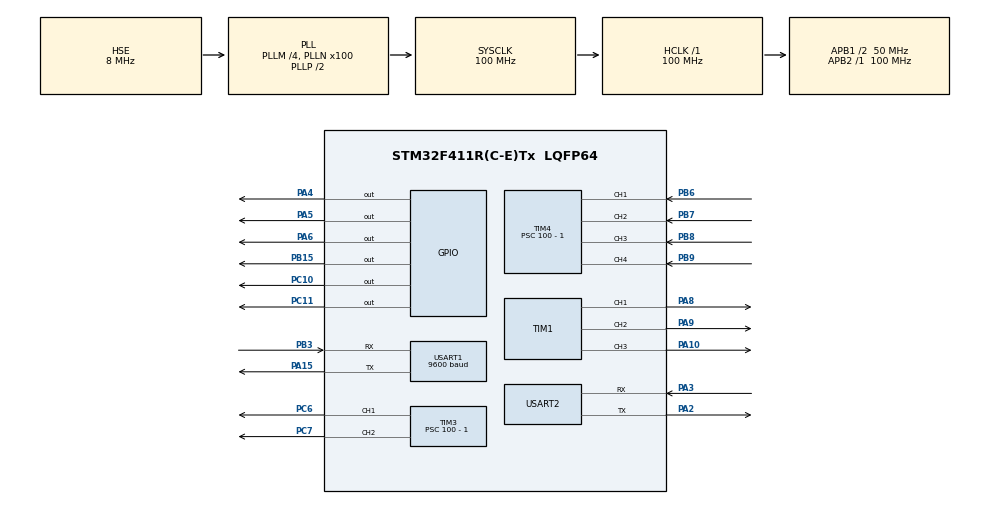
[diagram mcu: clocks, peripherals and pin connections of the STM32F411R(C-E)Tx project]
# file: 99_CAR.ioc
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FREERTOS.Tasks01=Motor_Task1,24,128,Motor_Task01,Default,NULL,Dynamic,NULL,NULL;ultrasonic_Task,8,128,Ultrasonic_Task,Default,NULL,Dynamic,NULL,NULL;BUZZER_Task1,8,128,Buzzer_Task01,Default,NULL,Dynamic,NULL,NULL;Signal_Task01,8,128,signal_task01,Default,NULL,Dynamic,NULL,NULL
FREERTOS.configUSE_NEWLIB_REENTRANT=1
Mcu.Family=STM32F4
Mcu.Name=STM32F411R(C-E)Tx
Mcu.Package=LQFP64
NVIC.PriorityGroup=NVIC_PRIORITYGROUP_4
NVIC.TIM1_UP_TIM10_IRQn=true\:5\:0\:false\:false\:true\:true\:false\:true\:true
NVIC.TIM4_IRQn=true\:5\:0\:false\:false\:true\:true\:true\:true\:true
NVIC.TimeBase=TIM1_UP_TIM10_IRQn
NVIC.TimeBaseIP=TIM10
NVIC.USART1_IRQn=true\:5\:0\:false\:false\:true\:true\:true\:true\:true
NVIC.USART2_IRQn=true\:5\:0\:false\:false\:true\:true\:true\:true\:true
PA10.Signal=S_TIM1_CH3
PA13.Mode=Serial_Wire
PA13.Signal=SYS_JTMS-SWDIO
PA14.Mode=Serial_Wire
PA14.Signal=SYS_JTCK-SWCLK
PA15.Mode=Asynchronous
PA15.Signal=USART1_TX
PA2.Mode=Asynchronous
PA2.Signal=USART2_TX
PA3.Mode=Asynchronous
PA3.Signal=USART2_RX
PA4.Signal=GPIO_Output
PA5.Signal=GPIO_Output
PA6.Signal=GPIO_Output
PA8.Signal=S_TIM1_CH1
PA9.Signal=S_TIM1_CH2
PB15.Signal=GPIO_Output
PB3.Mode=Asynchronous
PB3.Signal=USART1_RX
PB6.Signal=S_TIM4_CH1
PB7.Signal=S_TIM4_CH2
PB8.Signal=S_TIM4_CH3
PB9.Signal=S_TIM4_CH4
PC10.Signal=GPIO_Output
PC11.Signal=GPIO_Output
PC6.Signal=S_TIM3_CH1
PC7.Signal=S_TIM3_CH2
PH0\ -\ OSC_IN.Mode=HSE-External-Oscillator
PH0\ -\ OSC_IN.Signal=RCC_OSC_IN
PH1\ -\ OSC_OUT.Mode=HSE-External-Oscillator
PH1\ -\ OSC_OUT.Signal=RCC_OSC_OUT
ProjectManager.HeapSize=0x200
ProjectManager.StackSize=0x400
ProjectManager.TargetToolchain=STM32CubeIDE
RCC.48MHZClocksFreq_Value=50000000
RCC.AHBFreq_Value=100000000
RCC.APB1CLKDivider=RCC_HCLK_DIV2
RCC.APB1Freq_Value=50000000
RCC.APB1TimFreq_Value=100000000
RCC.APB2Freq_Value=100000000
RCC.APB2TimFreq_Value=100000000
RCC.CortexFreq_Value=100000000
RCC.HCLKFreq_Value=100000000
RCC.HSE_VALUE=8000000
RCC.HSI_VALUE=16000000
RCC.LSE_VALUE=32768
RCC.PLLM=4
RCC.PLLN=100
RCC.PLLSourceVirtual=RCC_PLLSOURCE_HSE
RCC.SYSCLKFreq_VALUE=100000000
RCC.SYSCLKSource=RCC_SYSCLKSOURCE_PLLCLK
RCC.VCOOutputFreq_Value=200000000
SH.S_TIM1_CH1.0=TIM1_CH1,PWM Generation1 CH1
SH.S_TIM1_CH2.0=TIM1_CH2,PWM Generation2 CH2
SH.S_TIM1_CH3.0=TIM1_CH3,PWM Generation3 CH3
SH.S_TIM3_CH1.0=TIM3_CH1,PWM Generation1 CH1
SH.S_TIM3_CH2.0=TIM3_CH2,PWM Generation2 CH2
SH.S_TIM4_CH1.0=TIM4_CH1,Input_Capture1_from_TI1
SH.S_TIM4_CH2.0=TIM4_CH2,Input_Capture2_from_TI2
SH.S_TIM4_CH3.0=TIM4_CH3,Input_Capture3_from_TI3
SH.S_TIM4_CH4.0=TIM4_CH4,Input_Capture4_from_TI4
TIM1.Channel-PWM\ Generation1\ CH1=TIM_CHANNEL_1
TIM1.Channel-PWM\ Generation2\ CH2=TIM_CHANNEL_2
TIM1.Channel-PWM\ Generation3\ CH3=TIM_CHANNEL_3
TIM11.Prescaler=100 - 1
TIM3.Channel-PWM\ Generation1\ CH1=TIM_CHANNEL_1
TIM3.Channel-PWM\ Generation2\ CH2=TIM_CHANNEL_2
TIM3.Period=1000 - 1
TIM3.Prescaler=100 - 1 
TIM3.Pulse-PWM\ Generation1\ CH1=500
TIM3.Pulse-PWM\ Generation2\ CH2=500
TIM4.Channel-Input_Capture1_from_TI1=TIM_CHANNEL_1
TIM4.Channel-Input_Capture2_from_TI2=TIM_CHANNEL_2
TIM4.Channel-Input_Capture3_from_TI3=TIM_CHANNEL_3
TIM4.Channel-Input_Capture4_from_TI4=TIM_CHANNEL_4
TIM4.ICPolarity_CH1=TIM_INPUTCHANNELPOLARITY_BOTHEDGE
TIM4.ICPolarity_CH2=TIM_INPUTCHANNELPOLARITY_BOTHEDGE
TIM4.ICPolarity_CH3=TIM_INPUTCHANNELPOLARITY_BOTHEDGE
TIM4.Prescaler=100 - 1
USART1.BaudRate=9600
USART1.VirtualMode=VM_ASYNC
USART2.VirtualMode=VM_ASYNC
VP_FREERTOS_VS_CMSIS_V2.Mode=CMSIS_V2
VP_SYS_VS_tim10.Mode=TIM10
VP_TIM11_VS_ClockSourceINT.Mode=Enable_Timer
board=custom

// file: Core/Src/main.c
/* USER CODE BEGIN Header */
/**
  ******************************************************************************
  * @file           : main.c
  * @brief          : Main program body
  ******************************************************************************
  * @attention
  *
  * Copyright (c) 2025 STMicroelectronics.
  * All rights reserved.
  *
  * This software is licensed under terms that can be found in the LICENSE file
  * in the root directory of this software component.
  * If no LICENSE file comes with this software, it is provided AS-IS.
  *
  ******************************************************************************
  */
/* USER CODE END Header */
#include "main.h"
#include "cmsis_os.h"
#include "tim.h"
#include "usart.h"
#include "gpio.h"

/* USER CODE BEGIN Includes */

#include "stdio.h"
#include "motor.h"
#include "Ultrasonic.h"
#include "led.h"
#include "button.h"
#include "delay_us.h"

/* USER CODE END Includes */

/* USER CODE BEGIN PV */

//uint8_t rxData;
uint8_t txData;
uint8_t rxBt;

/* USER CODE END PV */

void SystemClock_Config(void);
void MX_FREERTOS_Init(void);
/* USER CODE BEGIN PFP */

//void HAL_UART_RxCpltCallback(UART_HandleTypeDef *huart)
//{
//  if(huart->Instance == USART2)
//  {
//    uint16_t speed = GetSpeed();
//
//    switch(rxData)
//    {
//      case 'w' :
//      case 'W' :
//        Forward();
//        break;
//
//      case 's' :
//      case 'S' :
//        Backward();
//        break;
//
//      case 'a' :
//      case 'A' :
//        Left();
//        break;
//
//      case 'd' :
//      case 'D' :
//        Right();
//        break;
//
//      case 'z' :
//      case 'Z' :
//        speed += 100;
//        SetSpeed(speed);
//        break;
//
//      case 'x' :
//      case 'X' :
//        if(speed >= 100) speed -= 100;
//        else speed = 0;
//        SetSpeed(speed);
//        break;
//
//      case 'e' :
//      case 'E' :
//        Stop();
//        break;
//
//      default :
//        break;  // 그 외의 문자는 무시
//    }
//    // 다음 문자 수신 대기
//    HAL_UART_Receive_IT(&huart2, &rxData, sizeof(rxData));
//  }
//
//  if(huart->Instance == USART1)
//    {
//      uint16_t speed = GetSpeed();
//
//      switch(txData)
//      {
//        case 'w' : Forward(); break;
//        case 's' : Backward(); break;
//        case 'a' : Left(); break;
//        case 'd' : Right() ; break;
//        case 't' : speed += 100; SetSpeed(speed); break;
//        case 'x' : speed = (speed >= 100) ? speed - 100 : 0; SetSpeed(speed); break;
//        case 'q' : Stop(); break;
//        default: break;
//      }
//      // 다음 문자 수신 대기
//      HAL_UART_Receive_IT(&huart1, &txData, sizeof(txData));
//    }
//}

/* USER CODE END PFP */

/* USER CODE BEGIN 0 */

//GPIO_TypeDef *gGPIOB;

/* USER CODE END 0 */

int main(void)
{

  /* MCU Configuration--------------------------------------------------------*/

  /* Reset of all peripherals, Initializes the Flash interface and the Systick. */
  HAL_Init();

  /* Configure the system clock */
  SystemClock_Config();

  /* Initialize all configured peripherals */
  MX_GPIO_Init();
  MX_TIM3_Init();
  MX_USART2_UART_Init();
  MX_USART1_UART_Init();
  MX_TIM4_Init();
  MX_TIM11_Init();
  MX_TIM1_Init();
  /* USER CODE BEGIN 2 */

  MotorInit();
  //Ultrasonic_Init();
  Buzzer_Init();

  // PWM Start
  HAL_TIM_PWM_Start(&htim3, TIM_CHANNEL_1); // ENA (PB4)
  HAL_TIM_PWM_Start(&htim3, TIM_CHANNEL_2); // ENB (PB5)

  HAL_TIM_PWM_Start(&htim2, TIM_CHANNEL_1);
  HAL_TIM_Base_Start(&htim2); // 부저용 타이머

  // UART Interrupt
//  HAL_UART_Receive_IT(&huart2, &rxData, sizeof(rxData));
//  HAL_UART_Receive_IT(&huart1, &txData, sizeof(txData));
  HAL_UART_Receive_IT(&huart1, &rxBt, sizeof(rxBt));

  HAL_TIM_Base_Start(&htim11);    // us timer
  HAL_TIM_IC_Start_IT(&htim4, TIM_CHANNEL_1);   // for 전방 ultrasonic timer
  HAL_TIM_IC_Start_IT(&htim4, TIM_CHANNEL_2);   // for 전방 ultrasonic timer
  HAL_TIM_IC_Start_IT(&htim4, TIM_CHANNEL_3);   // for 전방 ultrasonic timer
  HAL_TIM_IC_Start_IT(&htim4, TIM_CHANNEL_4);	// for 후방 ultrasonic timer

  /* USER CODE END 2 */

  /* Init scheduler */
  osKernelInitialize();  /* Call init function for freertos objects (in cmsis_os2.c) */
  MX_FREERTOS_Init();

  /* Start scheduler */
  osKernelStart();

  /* We should never get here as control is now taken by the scheduler */

  /* Infinite loop */
  while (1)
  {

  }
}

void SystemClock_Config(void)
{
  RCC_OscInitTypeDef RCC_OscInitStruct = {0};
  RCC_ClkInitTypeDef RCC_ClkInitStruct = {0};

  /** Configure the main internal regulator output voltage
  */
  __HAL_RCC_PWR_CLK_ENABLE();
  __HAL_PWR_VOLTAGESCALING_CONFIG(PWR_REGULATOR_VOLTAGE_SCALE1);

  /** Initializes the RCC Oscillators according to the specified parameters
  * in the RCC_OscInitTypeDef structure.
  */
  RCC_OscInitStruct.OscillatorType = RCC_OSCILLATORTYPE_HSE;
  RCC_OscInitStruct.HSEState = RCC_HSE_ON;
  RCC_OscInitStruct.PLL.PLLState = RCC_PLL_ON;
  RCC_OscInitStruct.PLL.PLLSource = RCC_PLLSOURCE_HSE;
  RCC_OscInitStruct.PLL.PLLM = 4;
  RCC_OscInitStruct.PLL.PLLN = 100;
  RCC_OscInitStruct.PLL.PLLP = RCC_PLLP_DIV2;
  RCC_OscInitStruct.PLL.PLLQ = 4;
  if (HAL_RCC_OscConfig(&RCC_OscInitStruct) != HAL_OK)
  {
    Error_Handler();
  }

  /** Initializes the CPU, AHB and APB buses clocks
  */
  RCC_ClkInitStruct.ClockType = RCC_CLOCKTYPE_HCLK|RCC_CLOCKTYPE_SYSCLK
                              |RCC_CLOCKTYPE_PCLK1|RCC_CLOCKTYPE_PCLK2;
  RCC_ClkInitStruct.SYSCLKSource = RCC_SYSCLKSOURCE_PLLCLK;
  RCC_ClkInitStruct.AHBCLKDivider = RCC_SYSCLK_DIV1;
  RCC_ClkInitStruct.APB1CLKDivider = RCC_HCLK_DIV2;
  RCC_ClkInitStruct.APB2CLKDivider = RCC_HCLK_DIV1;

  if (HAL_RCC_ClockConfig(&RCC_ClkInitStruct, FLASH_LATENCY_3) != HAL_OK)
  {
    Error_Handler();
  }
}

void HAL_TIM_PeriodElapsedCallback(TIM_HandleTypeDef *htim)
{
  if (htim->Instance == TIM10)
  {
    HAL_IncTick();
  }
}

void Error_Handler(void)
{
  __disable_irq();
  while (1)
  {
  }
}

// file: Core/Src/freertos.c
/* USER CODE BEGIN Header */
/**
  ******************************************************************************
  * File Name          : freertos.c
  * Description        : Code for freertos applications
  ******************************************************************************
  * @attention
  *
  * Copyright (c) 2025 STMicroelectronics.
  * All rights reserved.
  *
  * This software is licensed under terms that can be found in the LICENSE file
  * in the root directory of this software component.
  * If no LICENSE file comes with this software, it is provided AS-IS.
  *
  ******************************************************************************
  */
/* USER CODE END Header */

#include "FreeRTOS.h"
#include "task.h"
#include "main.h"
#include "cmsis_os.h"

/* USER CODE BEGIN Includes */

#include "motor.h"
#include "Ultrasonic.h"
#include "buzzer.h"
#include "led.h"
#include "button.h"
#include "usart.h"
#include "delay_us.h"

/* USER CODE END Includes */

/* USER CODE BEGIN PD */

//extern uint8_t txData;
//uint8_t mode = 10;
//// 모터변수
//static uint16_t speed = 500;
//
//// ultrasonic
//uint16_t IC_Value1 = 0;
//uint16_t IC_Value2 = 0;
//uint16_t echoTime1 = 0;
//uint8_t captureFlag1 = 0;
//uint8_t distance1 = 0;
//
//uint16_t IC_Value3 = 0;
//uint16_t IC_Value4 = 0;
//uint16_t echoTime2 = 0;
//uint8_t captureFlag2 = 0;
//uint8_t distance2 = 0;
//
//uint16_t IC_Value5 = 0;
//uint16_t IC_Value6 = 0;
//uint16_t echoTime3 = 0;
//uint8_t captureFlag3 = 0;
//uint8_t distance3 = 0;

// Buzzer
uint32_t buzzer_beep_time = 0;
uint8_t buzzer_state = 0; // 0: off, 1: on
uint8_t current_beep_interval = 0;
uint8_t current_beep_frequency = 0;

// LED
uint8_t led1_State = 0;
uint8_t led2_State = 0;
uint8_t led1_Blink = 0;
uint8_t led2_Blink = 0;

extern uint8_t rxData;
extern uint8_t rxBt;
uint8_t rxType;
uint8_t rxFlag;
uint8_t autoFlag = 1;

DriveState currentState = STOP;
TurnState turn = None;

uint16_t IC_Value1_L = 0;
uint16_t IC_Value1_M = 0;
uint16_t IC_Value1_R = 0;
uint16_t IC_Value1_B = 0;

uint16_t IC_Value2_L = 0;
uint16_t IC_Value2_M = 0;
uint16_t IC_Value2_R = 0;
uint16_t IC_Value2_B = 0;

uint16_t echoTime_L = 0;
uint16_t echoTime_M = 0;
uint16_t echoTime_R = 0;
uint16_t echoTime_B = 0;

uint8_t captureFlag_1 = 0;
uint8_t captureFlag_2 = 0;
uint8_t captureFlag_3 = 0;
uint8_t captureFlag_B = 0;

uint16_t distance_L = 0;
uint16_t distance_M = 0;
uint16_t distance_R = 0;
uint16_t distance_B = 0;

/* USER CODE END PD */

/* USER CODE BEGIN Variables */

void HAL_UART_RxCpltCallback(UART_HandleTypeDef *huart)
{
	if(huart->Instance == USART1)
		{
			if (rxBt == 'w')
			{
				HAL_UART_Transmit(&huart1, &rxBt, sizeof(rxBt), 5);
				rxFlag = 1;
				currentState = FORWARD;
				turn = None;
			}
			else if (rxBt == 's')
			{
				HAL_UART_Transmit(&huart1, &rxBt, sizeof(rxBt), 5);
				rxFlag = 1;
				currentState = BACKWARD;
				turn = None;
			}
			else if (rxBt == 'a')
			{
				HAL_UART_Transmit(&huart1, &rxBt, sizeof(rxBt), 5);
				rxFlag = 1;
				if (currentState == FORWARD)
				{
					currentState = FORWARD;
					turn = Left;
				}
				else if (currentState == BACKWARD)
				{
					currentState = BACKWARD;
					turn = Left;
				}
			}
			else if (rxBt == 'd')
			{
				HAL_UART_Transmit(&huart1, &rxBt, sizeof(rxBt), 5);
				rxFlag = 1;
				if (currentState == FORWARD)
				{
					currentState = FORWARD;
					turn = Right;
				}
				else if (currentState == BACKWARD)
				{
					currentState = BACKWARD;
					turn = Right;
				}
			}
			else if (rxBt == 'q')
			{
				HAL_UART_Transmit(&huart1, &rxBt, sizeof(rxBt), 5);
				rxFlag = 1;
				currentState = STOP;
				turn = None;
			}
			else if (rxBt == 'z')
			{
				HAL_UART_Transmit(&huart1, &rxBt, sizeof(rxBt), 5);
				autoFlag = !autoFlag;	// 토글 방식
				rxFlag = (autoFlag == 0);	// 수동일 경우 수신 처리
				currentState = STOP;
				turn = None;
			}
			HAL_UART_Receive_IT(&huart1, &rxBt, sizeof(rxBt));
		}
}

//void HAL_UART_RxCpltCallback(UART_HandleTypeDef *huart)
//{
//  if(huart->Instance == USART1)
//    {
//      switch(txData)
//      {
//        case 'w' :
//        {
//          mode = 0;
//          break;
//        }
//
//        case 's' :
//          {
//            mode = 1;
//            break;
//          }
//
//        case 'a' :
//          {
//            mode = 2;
//            break;
//          }
//
//        case 'd' :
//          {
//            mode = 3;
//            break;
//          }
//
//        case 't' :
//          {
//            mode = 4;
//            //speed += 100; SetSpeed(speed);
//            break;
//          }
//
//        case 'x' :
//          {
//            mode = 5;
////            speed = (speed >= 100) ? speed - 100 : 0;
////            SetSpeed(speed);
//            break;
//          }
//
//        case 'q' :
//        {
//          mode = 6;
//          break;
//        }
//
//        default: break;
//      }
//      // 다음 문자 수신 대기
//      HAL_UART_Receive_IT(&huart1, &txData, sizeof(txData));
//    }
//}

void HAL_TIM_IC_CaptureCallback(TIM_HandleTypeDef *htim)
{
	if(htim->Channel == HAL_TIM_ACTIVE_CHANNEL_1)
	{
		if(captureFlag_1 == 0)  // 아직 캡처를 안했다면
		{
			IC_Value1_R = HAL_TIM_ReadCapturedValue(&htim4, TIM_CHANNEL_1);
			captureFlag_1 = 1;    // 캡처 했음 !!!
			// 캡처에 대한 극성을 라이징에서 폴링으로 바꿈
			__HAL_TIM_SET_CAPTUREPOLARITY(&htim4, TIM_CHANNEL_1, TIM_INPUTCHANNELPOLARITY_FALLING);
		}
		else if(captureFlag_1 == 1) // 캡처를 했다면
		{
			IC_Value2_R = HAL_TIM_ReadCapturedValue(&htim4, TIM_CHANNEL_1);

			if(IC_Value2_R > IC_Value1_R)
			{
				echoTime_R = IC_Value2_R - IC_Value1_R;
			}
			else if(IC_Value1_R > IC_Value2_R)
			{
				echoTime_R = (0xffff - IC_Value1_R) + IC_Value2_R;
			}
			distance_R = echoTime_R / 58;

			if(distance_R < 2 || distance_R > 400)
			{
				distance_R = 0;
			}

			captureFlag_1 = 0;
			__HAL_TIM_SET_CAPTUREPOLARITY(&htim4, TIM_CHANNEL_1, TIM_INPUTCHANNELPOLARITY_RISING);
			__HAL_TIM_DISABLE_IT(&htim4, TIM_IT_CC1);

		}
	}

	if(htim->Channel == HAL_TIM_ACTIVE_CHANNEL_2)
	{
		if(captureFlag_2 == 0)  // 아직 캡처를 안했다면
		{
			IC_Value1_M = HAL_TIM_ReadCapturedValue(&htim4, TIM_CHANNEL_2);
			captureFlag_2 = 1;    // 캡처 했음 !!!
			// 캡처에 대한 극성을 라이징에서 폴링으로 바꿈
			__HAL_TIM_SET_CAPTUREPOLARITY(&htim4, TIM_CHANNEL_2, TIM_INPUTCHANNELPOLARITY_FALLING);
		}
		else if(captureFlag_2 == 1) // 캡처를 했다면
		{
			IC_Value2_M = HAL_TIM_ReadCapturedValue(&htim4, TIM_CHANNEL_2);

			if(IC_Value2_M > IC_Value1_M)
			{
				echoTime_M = IC_Value2_M - IC_Value1_M;
			}
			else if(IC_Value1_M > IC_Value2_M)
			{
				echoTime_M = (0xffff - IC_Value1_M) + IC_Value2_M;
			}
			distance_M = echoTime_M / 58;

			if(distance_M < 2 || distance_M > 400)
			{
				distance_M = 0;
			}

			captureFlag_2 = 0;
			__HAL_TIM_SET_CAPTUREPOLARITY(&htim4, TIM_CHANNEL_2, TIM_INPUTCHANNELPOLARITY_RISING);
			__HAL_TIM_DISABLE_IT(&htim4, TIM_IT_CC2);

		}
	}

	if(htim->Channel == HAL_TIM_ACTIVE_CHANNEL_3)
	{
		if(captureFlag_3 == 0)  // 아직 캡처를 안했다면
		{
			IC_Value1_L = HAL_TIM_ReadCapturedValue(&htim4, TIM_CHANNEL_3);
			captureFlag_3 = 1;    // 캡처 했음 !!!
			// 캡처에 대한 극성을 라이징에서 폴링으로 바꿈
			__HAL_TIM_SET_CAPTUREPOLARITY(&htim4, TIM_CHANNEL_3, TIM_INPUTCHANNELPOLARITY_FALLING);
		}
		else if(captureFlag_3 == 1) // 캡처를 했다면
		{
			IC_Value2_L = HAL_TIM_ReadCapturedValue(&htim4, TIM_CHANNEL_3);

			if(IC_Value2_L > IC_Value1_L)
			{
				echoTime_L = IC_Value2_L - IC_Value1_L;
			}
			else if(IC_Value1_L > IC_Value2_L)
			{
				echoTime_L = (0xffff - IC_Value1_L) + IC_Value2_L;
			}
			distance_L = echoTime_L / 58;

			if(distance_L < 2 || distance_L > 400)
			{
				distance_L = 0;
			}

			captureFlag_3 = 0;
			__HAL_TIM_SET_CAPTUREPOLARITY(&htim4, TIM_CHANNEL_3, TIM_INPUTCHANNELPOLARITY_RISING);
			__HAL_TIM_DISABLE_IT(&htim4, TIM_IT_CC3);
		}
	}

	if(htim->Channel == HAL_TIM_ACTIVE_CHANNEL_4)
	{
		if(captureFlag_B == 0)  // 아직 캡처를 안했다면
		{
			IC_Value1_B = HAL_TIM_ReadCapturedValue(&htim4, TIM_CHANNEL_4);
			captureFlag_B = 1;    // 캡처 했음 !!!
			// 캡처에 대한 극성을 라이징에서 폴링으로 바꿈
			__HAL_TIM_SET_CAPTUREPOLARITY(&htim4, TIM_CHANNEL_4, TIM_INPUTCHANNELPOLARITY_FALLING);
		}
		else if(captureFlag_B == 1) // 캡처를 했다면
		{
			IC_Value2_B = HAL_TIM_ReadCapturedValue(&htim4, TIM_CHANNEL_4);

			if(IC_Value2_B > IC_Value1_B)
			{
				echoTime_B = IC_Value2_B - IC_Value1_B;
			}
			else if(IC_Value1_B > IC_Value2_B)
			{
				echoTime_B = (0xffff - IC_Value1_B) + IC_Value2_B;
			}
			distance_B = echoTime_B / 58;

			if(distance_B < 2 || distance_B > 400)
			{
				distance_B = 0;
			}

			captureFlag_B = 0;
			__HAL_TIM_SET_CAPTUREPOLARITY(&htim4, TIM_CHANNEL_4, TIM_INPUTCHANNELPOLARITY_RISING);
			__HAL_TIM_DISABLE_IT(&htim4, TIM_IT_CC4);
		}
	}
}

//void HAL_TIM_IC_CaptureCallback(TIM_HandleTypeDef *htim)
//{
//  if(htim->Channel == HAL_TIM_ACTIVE_CHANNEL_1)
//  {
//    if(captureFlag1 == 0)  // 아직 캡처를 안했다면
//    {
//      IC_Value1 = HAL_TIM_ReadCapturedValue(&htim4, TIM_CHANNEL_1);
//      captureFlag1 = 1;    // 캡처 했음
//      // 캡처에 대한 극성을 rising 에서 falling 으로 바꿈
//      __HAL_TIM_SET_CAPTUREPOLARITY(htim, TIM_CHANNEL_1, TIM_INPUTCHANNELPOLARITY_FALLING);
//    }
//    else if(captureFlag1 == 1)   // 캡처를 했다면
//    {
//      IC_Value2 = HAL_TIM_ReadCapturedValue(&htim4, TIM_CHANNEL_1);
//      //__HAL_TIM_SET_COUNTER(&htim4, 0);
//
//      // echo 시간 계산
//      if(IC_Value2 > IC_Value1)
//      {
//        echoTime1 = IC_Value2 - IC_Value1;
//      }
//      else if(IC_Value1 > IC_Value2)
//      {
//        echoTime1 = (0xffff - IC_Value1) + IC_Value2;
//      }
//      // 거리 계산
//      distance1 = echoTime1 / 58;
//
//      // 거리 값 검증
//      if(distance1 < 2 || distance1 > 400)
//      {
//        distance1 = 0;  // 오류 값
//      }
//
//      captureFlag1 = 0;
//      __HAL_TIM_SET_CAPTUREPOLARITY(htim, TIM_CHANNEL_1, TIM_INPUTCHANNELPOLARITY_RISING);
//      __HAL_TIM_DISABLE_IT(&htim4, TIM_IT_CC1);
//    }
//  }
//
//  if(htim->Channel == HAL_TIM_ACTIVE_CHANNEL_2)
//    {
//      if(captureFlag2 == 0)  // 아직 캡처를 안했다면
//      {
//        IC_Value3 = HAL_TIM_ReadCapturedValue(&htim4, TIM_CHANNEL_2);
//        captureFlag2 = 1;    // 캡처 했음
//        // 캡처에 대한 극성을 rising 에서 falling 으로 바꿈
//        __HAL_TIM_SET_CAPTUREPOLARITY(htim, TIM_CHANNEL_2, TIM_INPUTCHANNELPOLARITY_FALLING);
//      }
//      else if(captureFlag2 == 1)   // 캡처를 했다면
//      {
//        IC_Value4 = HAL_TIM_ReadCapturedValue(&htim4, TIM_CHANNEL_2);
//        //__HAL_TIM_SET_COUNTER(&htim4, 0);
//
//        // echo 시간 계산
//        if(IC_Value4 > IC_Value3)
//        {
//          echoTime2 = IC_Value4 - IC_Value3;
//        }
//        else if(IC_Value3 > IC_Value4)
//        {
//          echoTime2 = (0xffff - IC_Value3) + IC_Value4;
//        }
//
//        distance2 = echoTime2 / 58;
//
//        if(distance2 < 2 || distance2 > 400)
//        {
//          distance2 = 0;
//        }
//
//        captureFlag2 = 0;
//        __HAL_TIM_SET_CAPTUREPOLARITY(htim, TIM_CHANNEL_2, TIM_INPUTCHANNELPOLARITY_RISING);
//        __HAL_TIM_DISABLE_IT(&htim4, TIM_IT_CC2);
//      }
//    }
//
//  if(htim->Channel == HAL_TIM_ACTIVE_CHANNEL_3)
//    {
//      if(captureFlag3 == 0)  // 아직 캡처를 안했다면
//      {
//        IC_Value5 = HAL_TIM_ReadCapturedValue(&htim4, TIM_CHANNEL_3);
//        captureFlag3 = 1;    // 캡처 했음
//        // 캡처에 대한 극성을 rising 에서 falling 으로 바꿈
//        __HAL_TIM_SET_CAPTUREPOLARITY(htim, TIM_CHANNEL_3, TIM_INPUTCHANNELPOLARITY_FALLING);
//      }
//      else if(captureFlag3 == 1)   // 캡처를 했다면
//      {
//        IC_Value6 = HAL_TIM_ReadCapturedValue(&htim4, TIM_CHANNEL_3);
//        //__HAL_TIM_SET_COUNTER(&htim4, 0);
//
//        // echo 시간 계산
//        if(IC_Value6 > IC_Value5)
//        {
//          echoTime3 = IC_Value6 - IC_Value5;
//        }
//        else if(IC_Value5 > IC_Value6)
//        {
//          echoTime3 = (0xffff - IC_Value5) + IC_Value6;
//        }
//
//        distance3 = echoTime3 / 58;
//
//        if(distance3 < 2 || distance3 > 400)
//        {
//          distance3 = 0;
//        }
//
//        captureFlag3 = 0;
//        __HAL_TIM_SET_CAPTUREPOLARITY(htim, TIM_CHANNEL_3, TIM_INPUTCHANNELPOLARITY_RISING);
//        __HAL_TIM_DISABLE_IT(&htim4, TIM_IT_CC3);
//      }
//    }
//
//}

/* USER CODE END Variables */
/* Definitions for Motor_Task1 */
osThreadId_t Motor_Task1Handle;
const osThreadAttr_t Motor_Task1_attributes = {
  .name = "Motor_Task1",
  .stack_size = 128 * 4,
  .priority = (osPriority_t) osPriorityNormal,
};
/* Definitions for ultrasonic_Task */
osThreadId_t ultrasonic_TaskHandle;
const osThreadAttr_t ultrasonic_Task_attributes = {
  .name = "ultrasonic_Task",
  .stack_size = 128 * 4,
  .priority = (osPriority_t) osPriorityLow,
};
/* Definitions for BUZZER_Task1 */
osThreadId_t BUZZER_Task1Handle;
const osThreadAttr_t BUZZER_Task1_attributes = {
  .name = "BUZZER_Task1",
  .stack_size = 128 * 4,
  .priority = (osPriority_t) osPriorityLow,
};
/* Definitions for Signal_Task01 */
osThreadId_t Signal_Task01Handle;
const osThreadAttr_t Signal_Task01_attributes = {
  .name = "Signal_Task01",
  .stack_size = 128 * 4,
  .priority = (osPriority_t) osPriorityLow,
};

void Motor_Task01(void *argument);
void Ultrasonic_Task(void *argument);
void Buzzer_Task01(void *argument);
void signal_task01(void *argument);

void MX_FREERTOS_Init(void); /* (MISRA C 2004 rule 8.1) */

void MX_FREERTOS_Init(void) {

  /* Create the thread(s) */
  /* creation of Motor_Task1 */
  Motor_Task1Handle = osThreadNew(Motor_Task01, NULL, &Motor_Task1_attributes);

  /* creation of ultrasonic_Task */
  ultrasonic_TaskHandle = osThreadNew(Ultrasonic_Task, NULL, &ultrasonic_Task_attributes);

  /* creation of BUZZER_Task1 */
  BUZZER_Task1Handle = osThreadNew(Buzzer_Task01, NULL, &BUZZER_Task1_attributes);

  /* creation of Signal_Task01 */
  Signal_Task01Handle = osThreadNew(signal_task01, NULL, &Signal_Task01_attributes);

}

void Motor_Task01(void *argument)
{
  /* USER CODE BEGIN Motor_Task01 */
	/* Infinite loop */
	for(;;)
	{
		if (rxFlag == 1 && autoFlag == 0)
		{
			if (currentState == FORWARD)
			{
				if (turn == None)
				{
					frontBehave();
				}
				else if (turn == Left)
				{
					front_Left();
				}
				else if (turn == Right)
				{
					front_Right();
				}
			}
			else if (currentState == BACKWARD)
			{
				if (turn == None)
				{
					backBehave();
				}
				else if (turn == Left)
				{
					back_Left();
				}
				else if (turn == Right)
				{
					back_Right();
				}
			}
			else if (currentState == STOP)
			{
				stop();
			}
			//    if(mode == 0)
				//    {
			//      Forward();
			//      mode = 10;
			//    }
			//
			//    if(mode == 1)
			//    {
			//      Backward();
			//      mode = 10;
			//    }
			//
			//    if(mode == 2)
			//    {
			//      Left();
			//      mode = 10;
			//    }
			//
			//    if(mode == 3)
			//    {
			//      Right();
			//      mode = 10;
			//    }
			//
			//    if(mode == 4)
			//    {
			//      speed += 100; SetSpeed(speed);
			//      mode = 10;
			//    }
			//
			//    if(mode == 5)
			//    {
			//      speed = (speed >= 100) ? speed - 100 : 0;
			//      SetSpeed(speed);
			//      mode = 10;
			//    }
			//
			//    if(mode == 6)
			//    {
			//      Stop();
			//      mode = 10;
			//    }
		}
		osDelay(1);
  /* USER CODE END Motor_Task01 */
}

void Ultrasonic_Task(void *argument)
{
  /* USER CODE BEGIN Ultrasonic_Task */
  /* Infinite loop */
  for(;;)
  {
	  if(autoFlag == 1)
	  {
		  HCSR04_TRIG();
		  HAL_Delay(10);

		  // 자동 모드 종료 체크
		  if (autoFlag == 0)
		  {
			  autostop();
			  continue;
		  }

		  // 장애물 판단 로직 강화
		  if ((distance_R <= 20 && distance_L <= 20) || distance_M <= 35)
		  {
			  autostop();

			  // 더 넓은 쪽으로 회피
			  if (distance_L > distance_R)
			  {
				  auto_Left();
			  }
			  else if(distance_R > distance_L)
			  {
				  auto_Right();
			  }
		  }
		  else if (distance_R <= 20 && distance_L > 20)
		  {
			  front_Left();
		  }
		  else if (distance_L <= 20 && distance_R > 20)
		  {
			  front_Right();
		  }
		  else
		  {
			  autofrontBehave();  // 정상 전진
		  }
	  }
//    delay_us(1000);
//    delay_us(2000);
    //printf("Sensor1 : %d cm, Sensor2 : %d cm, Sensor3 : %d cm\r\n", distance1, distance2, distance3);
    //delay_us(100);
    osDelay(1);
  }
  /* USER CODE END Ultrasonic_Task */
}

void Buzzer_Task01(void *argument)
{
  /* USER CODE BEGIN Buzzer_Task01 */
  /* Infinite loop */
  for(;;)
  {
    // 가장 가까운 거리 찾기
    uint8_t current_distance = distance_B;

    // 유효한 거리 값이 있을 때만 부저 제어
    if(current_distance > 0 && current_distance <= DISTANCE_FAR)
    {
      uint16_t beep_interval = Calculate_Beep_Interval(current_distance);
      uint16_t beep_frequency = Calculate_Beep_Frequency(current_distance);

      uint32_t current_time = HAL_GetTick();

      // 부저 상태 관리
      if(buzzer_state == 0)
      {
        if(current_time - buzzer_beep_time >= beep_interval)
        {
          // 부저 켜기
          Buzzer_On(beep_frequency);
          buzzer_state = 1;
          buzzer_beep_time = current_time;

          // 거리에 따른 비프 지속시간 설정
          if(current_distance <= DISTANCE_CRITICAL)
          {
            current_beep_interval = BEEP_DURATION_LONG;
          }
          else
          {
            current_beep_interval = BEEP_DURATION_SHORT;
          }
        }
      }
      // 부저가 켜져 있는 상태
      else
      {
        if(current_time - buzzer_beep_time >= current_beep_interval)
        {
          Buzzer_Off();
          buzzer_state = 0;
          buzzer_beep_time = current_time;
        }
      }
    }
    else
    {
      // 너무 멀 때 부저 끄기
      Buzzer_Off();
      buzzer_state = 0;
    }

    //printf("Distance : %d cm, Beep interval : %d ms\r\n", current_distance, Calculate_Beep_Interval(current_distance));
    osDelay(10);
  }
  /* USER CODE END Buzzer_Task01 */
}

void signal_task01(void *argument)
{
  /* USER CODE BEGIN signal_task01 */
  /* Infinite loop */
  for(;;)
  {
	  //uint32_t now = HAL_GetTick();
	  uint8_t btn1 = Read_BTN1();	// 0 : 눌림, 1 : 안눌림
	  uint8_t btn2 = Read_BTN2();

	  if(btn1 == 0 && prev_btn1 == 1)	// 버튼 1이 새로 눌림
	  {
		  led1_Blink ^= 1;	// 깜빡임 ON/OFF 토글

		  if(led1_Blink == 0)
		  {
			  // 깜빡이 정지 시 LED OFF
			  LED1_OFF();
			  led1_State = 0;
		  }
	  }

	  if(btn2 == 0 && prev_btn2 == 1)
	  {
		  led2_Blink ^= 1;

		  if(led2_Blink == 0)
		  {
			  // 깜빡이 정지 시 LED OFF
			  LED2_OFF();
			  led2_State = 0;
		  }
	  }

	  // LED1 제어
	  if(led1_Blink)
	  {
		  if(HAL_GetTick() - last_blink_time1 >= 500)
		  {
			  led1_State ^= 1;
			  if(led1_State)
				  LED1_ON();
			  else
				  LED1_OFF();

			  last_blink_time1 = HAL_GetTick();
		  }
	  }

	  // LED2 제어
	  if(led2_Blink)
	  {
		  if(HAL_GetTick() - last_blink_time2 >= 500)
		  {
			  led2_State ^= 1;
			  if(led2_State)
				  LED2_ON();
			  else
				  LED2_OFF();

			  last_blink_time2 = HAL_GetTick();
		  }
	  }
	  prev_btn1 = btn1;
	  prev_btn2 = btn2;

    osDelay(50);
  }
  /* USER CODE END signal_task01 */
}
